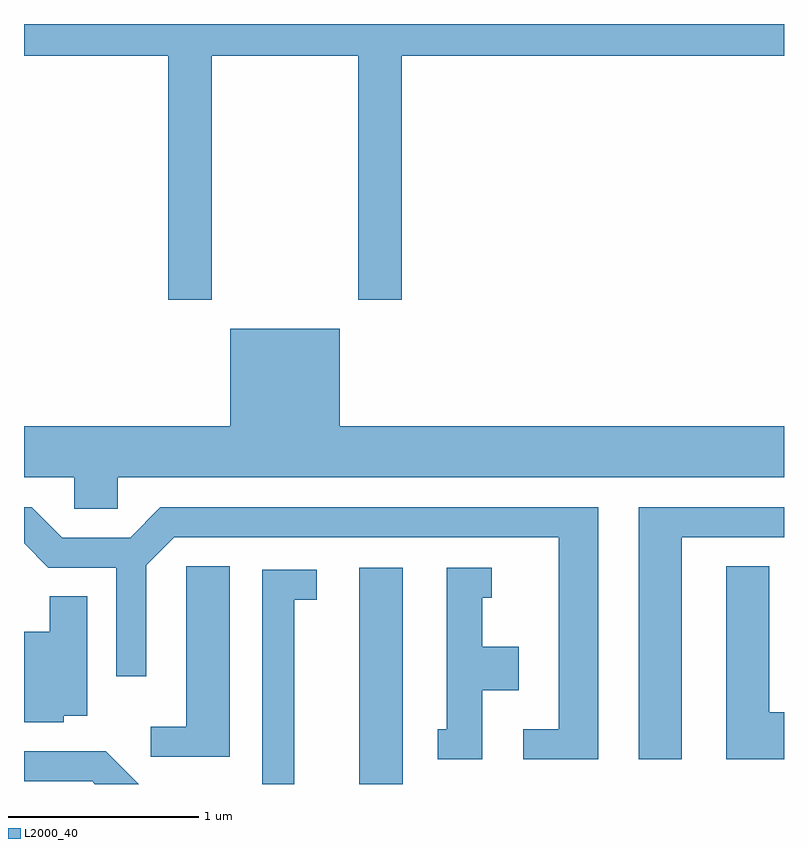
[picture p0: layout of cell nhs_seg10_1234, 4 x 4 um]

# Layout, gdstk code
import gdstk
lib = gdstk.Library(unit=1e-6, precision=1e-09)
def R(c, l, rs):  # rectangles x0, y0, x1, y1
    for r in rs: c.add(gdstk.rectangle(r[:2], r[2:], *l))
def P(c, l, *ps):  # polygons
    for p in ps: c.add(gdstk.Polygon(p, *l))
L2000_40 = (2000, 40)

nhs_seg10_1234 = lib.new_cell('nhs_seg10_1234')
R(nhs_seg10_1234, L2000_40, [(223.376,2114.522,223.604,2115.659)])
P(nhs_seg10_1234, L2000_40, [(222.599,2118.356),(223.371,2118.356),(223.371,2117.071),(223.599,2117.071),(223.599,2118.356),(225.611,2118.356),(225.611,2118.522),(221.611,2118.522),(221.611,2118.356),(222.371,2118.356),(222.371,2117.071),(222.599,2117.071)],
  [(222.104,2116.136),(225.611,2116.136),(225.611,2116.404),(223.274,2116.404),(223.274,2116.919),(222.696,2116.919),(222.696,2116.404),(221.611,2116.404),(221.611,2116.136),(221.876,2116.136),(221.876,2115.971),(222.104,2115.971)],
  [(224.634,2115.979),(222.329,2115.979),(222.169,2115.819),(221.812,2115.819),(221.652,2115.979),(221.611,2115.979),(221.611,2115.789),(221.739,2115.661),(222.096,2115.661),(222.096,2115.088),(222.254,2115.088),(222.254,2115.674),(222.402,2115.821),(224.426,2115.821),(224.426,2114.809),(224.238,2114.809),(224.238,2114.651),(224.634,2114.651)],
  [(225.074,2115.821),(225.611,2115.821),(225.611,2115.979),(224.846,2115.979),(224.846,2114.651),(225.074,2114.651)],
  [(222.694,2115.669),(222.466,2115.669),(222.466,2114.824),(222.278,2114.824),(222.278,2114.666),(222.694,2114.666)],
  [(225.611,2114.899),(225.534,2114.899),(225.534,2115.669),(225.306,2115.669),(225.306,2114.651),(225.611,2114.651)],
  [(224.024,2115.016),(224.214,2115.016),(224.214,2115.244),(224.024,2115.244),(224.024,2115.501),(224.073,2115.501),(224.073,2115.659),(223.836,2115.659),(223.836,2114.809),(223.788,2114.809),(223.788,2114.651),(224.024,2114.651)],
  [(223.034,2115.491),(223.153,2115.491),(223.153,2115.649),(222.866,2115.649),(222.866,2114.522),(223.034,2114.522)],
  [(221.819,2114.881),(221.944,2114.881),(221.944,2115.509),(221.746,2115.509),(221.746,2115.324),(221.611,2115.324),(221.611,2114.846),(221.819,2114.846)],
  [(222.042,2114.694),(221.611,2114.694),(221.611,2114.536),(221.969,2114.536),(221.983,2114.522),(222.214,2114.522)])

lib.write_gds('nhs_seg10_1234.gds')
